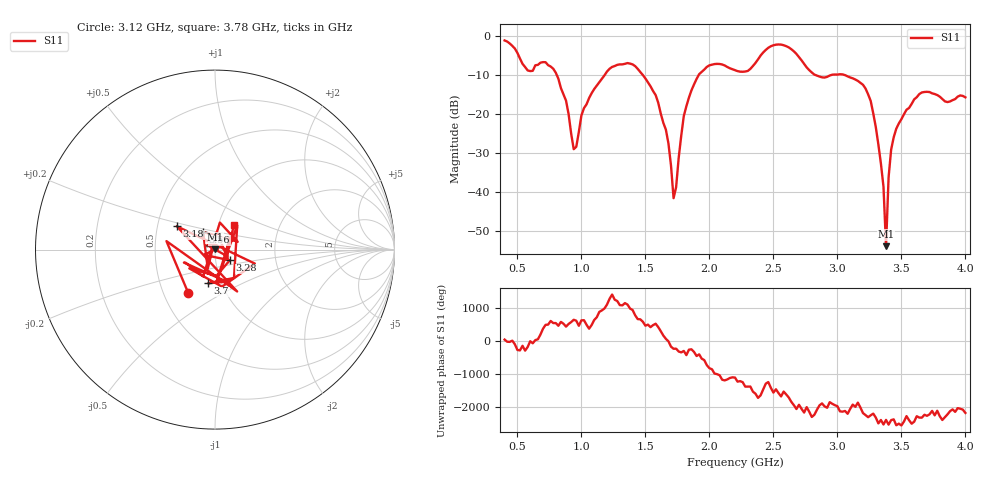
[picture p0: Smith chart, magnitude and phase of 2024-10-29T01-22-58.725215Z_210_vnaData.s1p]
!Created with skrf (http://scikit-rf.org).
# Hz S RI R 50.0
!freq ReS11 ImS11
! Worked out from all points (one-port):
!   181 points, 400 MHz to 4 GHz, reference 50 ohm
!   lowest |S11| = -53.9 dB at 3.38 GHz (marker M1), VSWR 1.00, Z = 49.9 + j0.145 ohm
!   |S11| at or under -10 dB: 806.7 MHz to 1.183 GHz (376.5 MHz wide, 37.8 % of centre); 1.478 GHz to 1.918 GHz (439.2 MHz wide, 25.9 % of centre); 3.05 GHz to end of sweep (the widest 3 of 4)
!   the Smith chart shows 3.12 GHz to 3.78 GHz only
!   S11 on the Smith chart (normalised r, x): 3.12 GHz: 0.67, -0.35; 3.18 GHz: 0.63, +0.17; 3.28 GHz: 1.17, -0.14; 3.56 GHz: 0.86, +0.17; 3.7 GHz: 0.87, -0.34; 3.78 GHz: 1.19, +0.33
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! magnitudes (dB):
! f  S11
! 400 MHz  -1.2
! 580 MHz  -8.9
! 780 MHz  -8.5
! 860 MHz  -15.0
! 940 MHz  -29.1
! 1.08 GHz  -14.7
! 1.3 GHz  -7.3
! 1.58 GHz  -15.2
! 1.68 GHz  -27.6
! 1.72 GHz  -41.6
! 1.76 GHz  -31.3
! 1.8 GHz  -20.6
! 1.92 GHz  -9.9
! 2.2 GHz  -8.8
! 2.66 GHz  -4.0
! 2.82 GHz  -10.0
! 3.1 GHz  -10.7
! 3.12 GHz  -10.9
! 3.18 GHz  -12.1
! 3.28 GHz  -19.9
! 3.36 GHz  -38.6
! 3.38 GHz  -53.9
! 3.4 GHz  -36.2
! 3.42 GHz  -29.1
! 3.56 GHz  -18.5
! 3.7 GHz  -14.4
! 3.78 GHz  -15.2
! 4 GHz  -15.8
